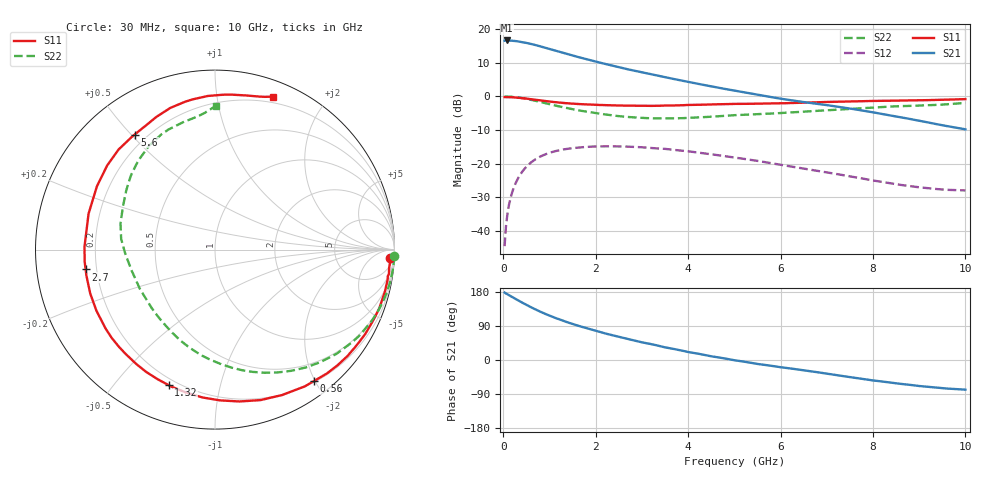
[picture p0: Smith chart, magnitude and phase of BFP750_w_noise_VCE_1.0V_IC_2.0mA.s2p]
! Infineon Technologies  Discrete & RF Semiconductors
! BFP750
! VCE =  1.0 V,  IC =  2.0 mA
! Common Emitter S-Parameters:  Jan 2016
# GHz  S  MA  R  50
!  f  S11  S21  S12  S22
! GHz  MAG  ANG  MAG  ANG  MAG  ANG  MAG  ANG
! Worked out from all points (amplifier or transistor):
!   229 points, 30 MHz to 10 GHz, reference 50 ohm
!   highest |S21| = 16.7 dB at 80 MHz (marker M1)
!   |S21| within 3 dB of that: start of sweep to 1.121 GHz
!   unconditionally stable (mu >= 1): 5.906 GHz to end of sweep
!   at 280 MHz: K = 0.04, MSG = 21.0 dB, |S12| = -25.5 dB
!   at 1.78 GHz: K = 0.19, MSG = 13.1 dB, |S12| = -15.0 dB
!   at 10 GHz: K = 1.96, MAG = 3.5 dB, |S12| = -28.0 dB
!   lowest NFmin = 0.61 dB at 450 MHz
!   S11 on the Smith chart (normalised r, x): 30 MHz: 15, -33; 560 MHz: 0.22, -1.98; 1.32 GHz: 0.17, -0.70; 2.7 GHz: 0.16, -0.07; 5.6 GHz: 0.16, +0.51; 10 GHz: 0.14, +1.44
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0.03  0.9777 -2.9  6.757 177.9  0.0059 87.9  0.999 -2.1
0.05  0.9774 -5.0  6.814 175.8  0.0096 86.2  0.9989 -3.6
0.08  0.9787 -7.9  6.814 174.4  0.0156 84.9  0.9974 -5.7
0.17  0.9723 -16.8  6.767 168.0  0.0329 78.7  0.9893 -12.1
0.3  0.9602 -29.3  6.638 158.9  0.0568 70.5  0.9696 -21.1
0.46  0.9366 -44.3  6.365 148.1  0.0836 60.6  0.9316 -31.8
0.56  0.9164 -53.1  6.139 141.8  0.0981 54.5  0.9017 -38.1
0.7  0.8925 -65.2  5.825 133.3  0.1164 46.8  0.8601 -46.7
0.9  0.8572 -80.8  5.336 122.2  0.1366 36.7  0.7974 -57.9
1.1  0.8267 -94.9  4.873 112.3  0.1517 27.8  0.74 -68.0
1.32  0.7982 -108.9  4.406 102.5  0.1633 19.1  0.6841 -78.1
1.7  0.7665 -129.9  3.741 87.5  0.1756 6.2  0.6094 -93.5
1.92  0.7555 -140.5  3.411 79.6  0.1791 -0.5  0.5755 -101.7
2.2  0.7433 -152.7  3.056 70.2  0.1813 -8.4  0.5404 -111.3
2.7  0.7291 -171.3  2.531 55.2  0.1788 -21.0  0.4946 -127.7
3.4  0.7275 167.1  1.996 36.4  0.1672 -36.5  0.4712 -149.3
4  0.7465 151.8  1.652 21.1  0.1526 -48.3  0.4791 -166.0
5.1  0.7746 132.4  1.187 -2.3  0.1207 -64.3  0.529 171.7
5.6  0.7818 124.9  1.03 -11.9  0.107 -70.1  0.5488 162.7
6.8  0.8186 110.0  0.774 -32.3  0.0781 -78.2  0.6108 141.7
8.4  0.8642 86.9  0.518 -60.0  0.0506 -78.1  0.7079 115.0
10  0.9124 69.1  0.324 -78.3  0.0399 -62.6  0.8018 89.6
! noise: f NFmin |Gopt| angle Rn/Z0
0.45  0.61  0.56  1  0.26
0.9  0.69  0.53  35  0.2
1.5  0.83  0.46  73  0.16
1.9  0.94  0.43  94  0.13
2.4  1.1  0.41  119  0.13
3.5  1.68  0.43  163  0.08
